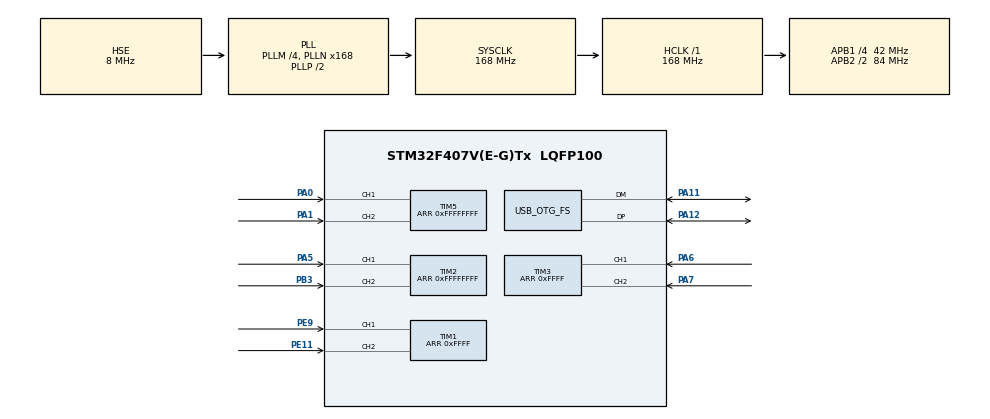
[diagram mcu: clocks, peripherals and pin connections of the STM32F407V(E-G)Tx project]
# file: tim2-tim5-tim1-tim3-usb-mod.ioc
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Mcu.Family=STM32F4
Mcu.Name=STM32F407V(E-G)Tx
Mcu.Package=LQFP100
NVIC.OTG_FS_IRQn=true\:0\:0\:false\:false\:true\:false\:true
NVIC.PriorityGroup=NVIC_PRIORITYGROUP_4
PA0-WKUP.GPIO_PuPd=GPIO_PULLUP
PA0-WKUP.GPIO_Speed=GPIO_SPEED_FREQ_VERY_HIGH
PA0-WKUP.Signal=S_TIM5_CH1
PA1.GPIO_PuPd=GPIO_PULLUP
PA1.GPIO_Speed=GPIO_SPEED_FREQ_VERY_HIGH
PA1.Signal=S_TIM5_CH2
PA11.Mode=Device_Only
PA11.Signal=USB_OTG_FS_DM
PA12.Mode=Device_Only
PA12.Signal=USB_OTG_FS_DP
PA5.GPIO_PuPd=GPIO_PULLUP
PA5.GPIO_Speed=GPIO_SPEED_FREQ_VERY_HIGH
PA5.Signal=S_TIM2_CH1_ETR
PA6.GPIO_PuPd=GPIO_PULLUP
PA6.GPIO_Speed=GPIO_SPEED_FREQ_VERY_HIGH
PA6.Signal=S_TIM3_CH1
PA7.GPIO_PuPd=GPIO_PULLUP
PA7.GPIO_Speed=GPIO_SPEED_FREQ_VERY_HIGH
PA7.Signal=S_TIM3_CH2
PB3.GPIO_PuPd=GPIO_PULLUP
PB3.GPIO_Speed=GPIO_SPEED_FREQ_VERY_HIGH
PB3.Signal=S_TIM2_CH2
PE11.GPIO_PuPd=GPIO_PULLUP
PE11.GPIO_Speed=GPIO_SPEED_FREQ_VERY_HIGH
PE11.Signal=S_TIM1_CH2
PE9.GPIO_PuPd=GPIO_PULLUP
PE9.GPIO_Speed=GPIO_SPEED_FREQ_VERY_HIGH
PE9.Signal=S_TIM1_CH1
PH0-OSC_IN.Mode=HSE-External-Oscillator
PH0-OSC_IN.Signal=RCC_OSC_IN
PH1-OSC_OUT.Mode=HSE-External-Oscillator
PH1-OSC_OUT.Signal=RCC_OSC_OUT
ProjectManager.HeapSize=0x200
ProjectManager.StackSize=0x400
ProjectManager.TargetToolchain=SW4STM32
RCC.48MHZClocksFreq_Value=48000000
RCC.AHBFreq_Value=168000000
RCC.APB1CLKDivider=RCC_HCLK_DIV4
RCC.APB1Freq_Value=42000000
RCC.APB1TimFreq_Value=84000000
RCC.APB2CLKDivider=RCC_HCLK_DIV2
RCC.APB2Freq_Value=84000000
RCC.APB2TimFreq_Value=168000000
RCC.CortexFreq_Value=168000000
RCC.HCLKFreq_Value=168000000
RCC.HSE_VALUE=8000000
RCC.HSI_VALUE=16000000
RCC.LSE_VALUE=32768
RCC.PLLM=4
RCC.PLLN=168
RCC.PLLQ=7
RCC.SYSCLKFreq_VALUE=168000000
RCC.SYSCLKSource=RCC_SYSCLKSOURCE_PLLCLK
RCC.VCOOutputFreq_Value=336000000
SH.S_TIM1_CH1.0=TIM1_CH1,Input_Capture1_from_TI1
SH.S_TIM1_CH2.0=TIM1_CH2,TriggerSource_TI2FP2
SH.S_TIM2_CH1_ETR.0=TIM2_CH1,Input_Capture1_from_TI1
SH.S_TIM2_CH2.0=TIM2_CH2,TriggerSource_TI2FP2
SH.S_TIM3_CH1.0=TIM3_CH1,Input_Capture1_from_TI1
SH.S_TIM3_CH2.0=TIM3_CH2,TriggerSource_TI2FP2
SH.S_TIM5_CH1.0=TIM5_CH1,TriggerSource_TI1FP1
SH.S_TIM5_CH2.0=TIM5_CH2,Input_Capture2_from_TI2
TIM1.AutoReloadPreload=TIM_AUTORELOAD_PRELOAD_ENABLE
TIM1.Channel-Input_Capture1_from_TI1=TIM_CHANNEL_1
TIM1.Period=0xFFFF
TIM2.AutoReloadPreload=TIM_AUTORELOAD_PRELOAD_ENABLE
TIM2.Channel-Input_Capture1_from_TI1=TIM_CHANNEL_1
TIM2.Period=0xFFFFFFFF
TIM3.AutoReloadPreload=TIM_AUTORELOAD_PRELOAD_ENABLE
TIM3.Channel-Input_Capture1_from_TI1=TIM_CHANNEL_1
TIM3.Period=0xFFFF
TIM5.AutoReloadPreload=TIM_AUTORELOAD_PRELOAD_ENABLE
TIM5.Channel-Input_Capture2_from_TI2=TIM_CHANNEL_2
TIM5.Period=0xFFFFFFFF
USB_DEVICE.CLASS_NAME_FS=CDC
USB_DEVICE.VirtualMode-CDC_FS=Cdc
USB_DEVICE.VirtualModeFS=Cdc_FS
USB_OTG_FS.VirtualMode=Device_Only
VP_TIM1_VS_ControllerModeClock.Mode=Clock Mode
VP_TIM2_VS_ControllerModeClock.Mode=Clock Mode
VP_TIM3_VS_ControllerModeClock.Mode=Clock Mode
VP_TIM5_VS_ControllerModeClock.Mode=Clock Mode
VP_USB_DEVICE_VS_USB_DEVICE_CDC_FS.Mode=CDC_FS
board=custom

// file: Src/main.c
/* USER CODE BEGIN Header */
/**
  ******************************************************************************
  * @file           : main.c
  * @brief          : Main program body
  ******************************************************************************
  * @attention
  *
  * <h2><center>&copy; Copyright (c) 2019 STMicroelectronics.
  * All rights reserved.</center></h2>
  *
  * This software component is licensed by ST under Ultimate Liberty license
  * SLA0044, the "License"; You may not use this file except in compliance with
  * the License. You may obtain a copy of the License at:
  *                             www.st.com/SLA0044
  *
  ******************************************************************************
  */
/* USER CODE END Header */

#include "main.h"
#include "usb_device.h"

/* USER CODE BEGIN Includes */
#include "usbd_cdc_if.h"
/* USER CODE END Includes */

TIM_HandleTypeDef htim1;
TIM_HandleTypeDef htim2;
TIM_HandleTypeDef htim3;
TIM_HandleTypeDef htim5;

/* USER CODE BEGIN PV */
char RawFreq[80];
/* USER CODE END PV */

void SystemClock_Config(void);
static void MX_GPIO_Init(void);
static void MX_TIM2_Init(void);
static void MX_TIM5_Init(void);
static void MX_TIM1_Init(void);
static void MX_TIM3_Init(void);

int main(void)
{

  /* MCU Configuration--------------------------------------------------------*/

  /* Reset of all peripherals, Initializes the Flash interface and the Systick. */
  HAL_Init();

  /* Configure the system clock */
  SystemClock_Config();

  /* Initialize all configured peripherals */
  MX_GPIO_Init();
  MX_TIM2_Init();
  MX_TIM5_Init();
  MX_USB_DEVICE_Init();
  MX_TIM1_Init();
  MX_TIM3_Init();
  /* USER CODE BEGIN 2 */
  TIM2->CR1     |= TIM_CR1_CEN;//1: Counter enabled
  TIM2->EGR |= TIM_EGR_UG;

  TIM5->CR1     |= TIM_CR1_CEN;//1: Counter enabled
  TIM5->EGR |= TIM_EGR_UG;

  TIM1->CR1     |= TIM_CR1_CEN;//1: Counter enabled
  TIM1->EGR |= TIM_EGR_UG;

  TIM3->CR1     |= TIM_CR1_CEN;//1: Counter enabled
  TIM3->EGR |= TIM_EGR_UG;
  /* USER CODE END 2 */

  /* Infinite loop */
  /* USER CODE BEGIN WHILE */
  unsigned int freqTIM2Before=0;
  unsigned int freqTIM2After=0;
  unsigned int freqTIM2PerSecond=0;

  unsigned int freqTIM5Before=0;
  unsigned int freqTIM5After=0;
  unsigned int freqTIM5PerSecond=0;

  unsigned int freqTIM1Before=0;
  unsigned int freqTIM1After=0;
  unsigned int freqTIM1PerSecond=0;

  unsigned int freqTIM3Before=0;
  unsigned int freqTIM3After=0;
  unsigned int freqTIM3PerSecond=0;
  unsigned int GENcount=0;

  while (1)
  {
    /* USER CODE END WHILE */
		freqTIM2After=TIM2->CNT;
		freqTIM2PerSecond=freqTIM2After-freqTIM2Before;
		freqTIM2PerSecond-=freqTIM2PerSecond*0.00095;
		freqTIM5After=TIM5->CNT;
	    freqTIM5PerSecond=freqTIM5After-freqTIM5Before;
	    freqTIM5PerSecond-=freqTIM5PerSecond*0.00095;
		freqTIM1After=TIM1->CNT;
	    freqTIM1PerSecond=freqTIM1After-freqTIM1Before;
	    freqTIM1PerSecond-=freqTIM1PerSecond*0.00095;
		freqTIM3After=TIM3->CNT;
	    freqTIM3PerSecond=freqTIM3After-freqTIM3Before;
	    freqTIM3PerSecond-=freqTIM3PerSecond*0.00095;

		//sprintf(RawFreq, "%u \t %u \t %u \t %u \t %u \r\n", (unsigned int)(GENcount), (unsigned int)(freqTIM2PerSecond), (unsigned int)(TIM2->CNT), (unsigned int)(freqTIM5PerSecond), (unsigned int)(TIM5->CNT));
		sprintf(RawFreq, "%u,%u,%u,%u,%u\r\n", GENcount, freqTIM2PerSecond, freqTIM5PerSecond, freqTIM1PerSecond, freqTIM3PerSecond);

		if((TIM2->CNT>0 || TIM5->CNT>0)) CDC_Transmit_FS((uint8_t *)RawFreq, 80);

		freqTIM2Before=freqTIM2After;
		freqTIM5Before=freqTIM5After;
		freqTIM1Before=freqTIM1After;
		freqTIM3Before=freqTIM3After;

		//if(TIM1->CNT+freqTIM1PerSecond>65000){
			TIM1->EGR &= ~TIM_EGR_UG;
			TIM1->EGR |= TIM_EGR_UG;
			//freqTIM1Before=0;

		//}
		//if(TIM3->CNT+freqTIM1PerSecond>65000){
			TIM3->EGR &= ~TIM_EGR_UG;
			TIM3->EGR |= TIM_EGR_UG;
			//freqTIM3Before=0;
		//}
		HAL_Delay(1000);
		GENcount++;
  }
}

void SystemClock_Config(void)
{
  RCC_OscInitTypeDef RCC_OscInitStruct = {0};
  RCC_ClkInitTypeDef RCC_ClkInitStruct = {0};

  /** Configure the main internal regulator output voltage
  */
  __HAL_RCC_PWR_CLK_ENABLE();
  __HAL_PWR_VOLTAGESCALING_CONFIG(PWR_REGULATOR_VOLTAGE_SCALE1);
  /** Initializes the CPU, AHB and APB busses clocks
  */
  RCC_OscInitStruct.OscillatorType = RCC_OSCILLATORTYPE_HSE;
  RCC_OscInitStruct.HSEState = RCC_HSE_ON;
  RCC_OscInitStruct.PLL.PLLState = RCC_PLL_ON;
  RCC_OscInitStruct.PLL.PLLSource = RCC_PLLSOURCE_HSE;
  RCC_OscInitStruct.PLL.PLLM = 4;
  RCC_OscInitStruct.PLL.PLLN = 168;
  RCC_OscInitStruct.PLL.PLLP = RCC_PLLP_DIV2;
  RCC_OscInitStruct.PLL.PLLQ = 7;
  if (HAL_RCC_OscConfig(&RCC_OscInitStruct) != HAL_OK)
  {
    Error_Handler();
  }
  /** Initializes the CPU, AHB and APB busses clocks
  */
  RCC_ClkInitStruct.ClockType = RCC_CLOCKTYPE_HCLK|RCC_CLOCKTYPE_SYSCLK
                              |RCC_CLOCKTYPE_PCLK1|RCC_CLOCKTYPE_PCLK2;
  RCC_ClkInitStruct.SYSCLKSource = RCC_SYSCLKSOURCE_PLLCLK;
  RCC_ClkInitStruct.AHBCLKDivider = RCC_SYSCLK_DIV1;
  RCC_ClkInitStruct.APB1CLKDivider = RCC_HCLK_DIV4;
  RCC_ClkInitStruct.APB2CLKDivider = RCC_HCLK_DIV2;

  if (HAL_RCC_ClockConfig(&RCC_ClkInitStruct, FLASH_LATENCY_5) != HAL_OK)
  {
    Error_Handler();
  }
}

static void MX_TIM1_Init(void)
{

  TIM_SlaveConfigTypeDef sSlaveConfig = {0};
  TIM_MasterConfigTypeDef sMasterConfig = {0};
  TIM_IC_InitTypeDef sConfigIC = {0};

  htim1.Instance = TIM1;
  htim1.Init.Prescaler = 0;
  htim1.Init.CounterMode = TIM_COUNTERMODE_UP;
  htim1.Init.Period = 0xFFFF;
  htim1.Init.ClockDivision = TIM_CLOCKDIVISION_DIV1;
  htim1.Init.RepetitionCounter = 0;
  htim1.Init.AutoReloadPreload = TIM_AUTORELOAD_PRELOAD_ENABLE;
  if (HAL_TIM_Base_Init(&htim1) != HAL_OK)
  {
    Error_Handler();
  }
  if (HAL_TIM_IC_Init(&htim1) != HAL_OK)
  {
    Error_Handler();
  }
  sSlaveConfig.SlaveMode = TIM_SLAVEMODE_EXTERNAL1;
  sSlaveConfig.InputTrigger = TIM_TS_TI2FP2;
  sSlaveConfig.TriggerPolarity = TIM_TRIGGERPOLARITY_RISING;
  sSlaveConfig.TriggerFilter = 0;
  if (HAL_TIM_SlaveConfigSynchro(&htim1, &sSlaveConfig) != HAL_OK)
  {
    Error_Handler();
  }
  sMasterConfig.MasterOutputTrigger = TIM_TRGO_RESET;
  sMasterConfig.MasterSlaveMode = TIM_MASTERSLAVEMODE_DISABLE;
  if (HAL_TIMEx_MasterConfigSynchronization(&htim1, &sMasterConfig) != HAL_OK)
  {
    Error_Handler();
  }
  sConfigIC.ICPolarity = TIM_INPUTCHANNELPOLARITY_RISING;
  sConfigIC.ICSelection = TIM_ICSELECTION_DIRECTTI;
  sConfigIC.ICPrescaler = TIM_ICPSC_DIV1;
  sConfigIC.ICFilter = 0;
  if (HAL_TIM_IC_ConfigChannel(&htim1, &sConfigIC, TIM_CHANNEL_1) != HAL_OK)
  {
    Error_Handler();
  }

}

static void MX_TIM2_Init(void)
{

  TIM_SlaveConfigTypeDef sSlaveConfig = {0};
  TIM_MasterConfigTypeDef sMasterConfig = {0};
  TIM_IC_InitTypeDef sConfigIC = {0};

  htim2.Instance = TIM2;
  htim2.Init.Prescaler = 0;
  htim2.Init.CounterMode = TIM_COUNTERMODE_UP;
  htim2.Init.Period = 0xFFFFFFFF;
  htim2.Init.ClockDivision = TIM_CLOCKDIVISION_DIV1;
  htim2.Init.AutoReloadPreload = TIM_AUTORELOAD_PRELOAD_ENABLE;
  if (HAL_TIM_Base_Init(&htim2) != HAL_OK)
  {
    Error_Handler();
  }
  if (HAL_TIM_IC_Init(&htim2) != HAL_OK)
  {
    Error_Handler();
  }
  sSlaveConfig.SlaveMode = TIM_SLAVEMODE_EXTERNAL1;
  sSlaveConfig.InputTrigger = TIM_TS_TI2FP2;
  sSlaveConfig.TriggerPolarity = TIM_TRIGGERPOLARITY_RISING;
  sSlaveConfig.TriggerFilter = 0;
  if (HAL_TIM_SlaveConfigSynchro(&htim2, &sSlaveConfig) != HAL_OK)
  {
    Error_Handler();
  }
  sMasterConfig.MasterOutputTrigger = TIM_TRGO_RESET;
  sMasterConfig.MasterSlaveMode = TIM_MASTERSLAVEMODE_DISABLE;
  if (HAL_TIMEx_MasterConfigSynchronization(&htim2, &sMasterConfig) != HAL_OK)
  {
    Error_Handler();
  }
  sConfigIC.ICPolarity = TIM_INPUTCHANNELPOLARITY_RISING;
  sConfigIC.ICSelection = TIM_ICSELECTION_DIRECTTI;
  sConfigIC.ICPrescaler = TIM_ICPSC_DIV1;
  sConfigIC.ICFilter = 0;
  if (HAL_TIM_IC_ConfigChannel(&htim2, &sConfigIC, TIM_CHANNEL_1) != HAL_OK)
  {
    Error_Handler();
  }

}

static void MX_TIM3_Init(void)
{

  TIM_SlaveConfigTypeDef sSlaveConfig = {0};
  TIM_MasterConfigTypeDef sMasterConfig = {0};
  TIM_IC_InitTypeDef sConfigIC = {0};

  htim3.Instance = TIM3;
  htim3.Init.Prescaler = 0;
  htim3.Init.CounterMode = TIM_COUNTERMODE_UP;
  htim3.Init.Period = 0xFFFF;
  htim3.Init.ClockDivision = TIM_CLOCKDIVISION_DIV1;
  htim3.Init.AutoReloadPreload = TIM_AUTORELOAD_PRELOAD_ENABLE;
  if (HAL_TIM_Base_Init(&htim3) != HAL_OK)
  {
    Error_Handler();
  }
  if (HAL_TIM_IC_Init(&htim3) != HAL_OK)
  {
    Error_Handler();
  }
  sSlaveConfig.SlaveMode = TIM_SLAVEMODE_EXTERNAL1;
  sSlaveConfig.InputTrigger = TIM_TS_TI2FP2;
  sSlaveConfig.TriggerPolarity = TIM_TRIGGERPOLARITY_RISING;
  sSlaveConfig.TriggerFilter = 0;
  if (HAL_TIM_SlaveConfigSynchro(&htim3, &sSlaveConfig) != HAL_OK)
  {
    Error_Handler();
  }
  sMasterConfig.MasterOutputTrigger = TIM_TRGO_RESET;
  sMasterConfig.MasterSlaveMode = TIM_MASTERSLAVEMODE_DISABLE;
  if (HAL_TIMEx_MasterConfigSynchronization(&htim3, &sMasterConfig) != HAL_OK)
  {
    Error_Handler();
  }
  sConfigIC.ICPolarity = TIM_INPUTCHANNELPOLARITY_RISING;
  sConfigIC.ICSelection = TIM_ICSELECTION_DIRECTTI;
  sConfigIC.ICPrescaler = TIM_ICPSC_DIV1;
  sConfigIC.ICFilter = 0;
  if (HAL_TIM_IC_ConfigChannel(&htim3, &sConfigIC, TIM_CHANNEL_1) != HAL_OK)
  {
    Error_Handler();
  }

}

static void MX_TIM5_Init(void)
{

  TIM_SlaveConfigTypeDef sSlaveConfig = {0};
  TIM_MasterConfigTypeDef sMasterConfig = {0};
  TIM_IC_InitTypeDef sConfigIC = {0};

  htim5.Instance = TIM5;
  htim5.Init.Prescaler = 0;
  htim5.Init.CounterMode = TIM_COUNTERMODE_UP;
  htim5.Init.Period = 0xFFFFFFFF;
  htim5.Init.ClockDivision = TIM_CLOCKDIVISION_DIV1;
  htim5.Init.AutoReloadPreload = TIM_AUTORELOAD_PRELOAD_ENABLE;
  if (HAL_TIM_Base_Init(&htim5) != HAL_OK)
  {
    Error_Handler();
  }
  if (HAL_TIM_IC_Init(&htim5) != HAL_OK)
  {
    Error_Handler();
  }
  sSlaveConfig.SlaveMode = TIM_SLAVEMODE_EXTERNAL1;
  sSlaveConfig.InputTrigger = TIM_TS_TI1FP1;
  sSlaveConfig.TriggerPolarity = TIM_TRIGGERPOLARITY_RISING;
  sSlaveConfig.TriggerFilter = 0;
  if (HAL_TIM_SlaveConfigSynchro(&htim5, &sSlaveConfig) != HAL_OK)
  {
    Error_Handler();
  }
  sMasterConfig.MasterOutputTrigger = TIM_TRGO_RESET;
  sMasterConfig.MasterSlaveMode = TIM_MASTERSLAVEMODE_DISABLE;
  if (HAL_TIMEx_MasterConfigSynchronization(&htim5, &sMasterConfig) != HAL_OK)
  {
    Error_Handler();
  }
  sConfigIC.ICPolarity = TIM_INPUTCHANNELPOLARITY_RISING;
  sConfigIC.ICSelection = TIM_ICSELECTION_DIRECTTI;
  sConfigIC.ICPrescaler = TIM_ICPSC_DIV1;
  sConfigIC.ICFilter = 0;
  if (HAL_TIM_IC_ConfigChannel(&htim5, &sConfigIC, TIM_CHANNEL_2) != HAL_OK)
  {
    Error_Handler();
  }

}

static void MX_GPIO_Init(void)
{

  /* GPIO Ports Clock Enable */
  __HAL_RCC_GPIOH_CLK_ENABLE();
  __HAL_RCC_GPIOA_CLK_ENABLE();
  __HAL_RCC_GPIOE_CLK_ENABLE();
  __HAL_RCC_GPIOB_CLK_ENABLE();

}

void Error_Handler(void)
{
}

/************************ (C) COPYRIGHT STMicroelectronics *****END OF FILE****/
